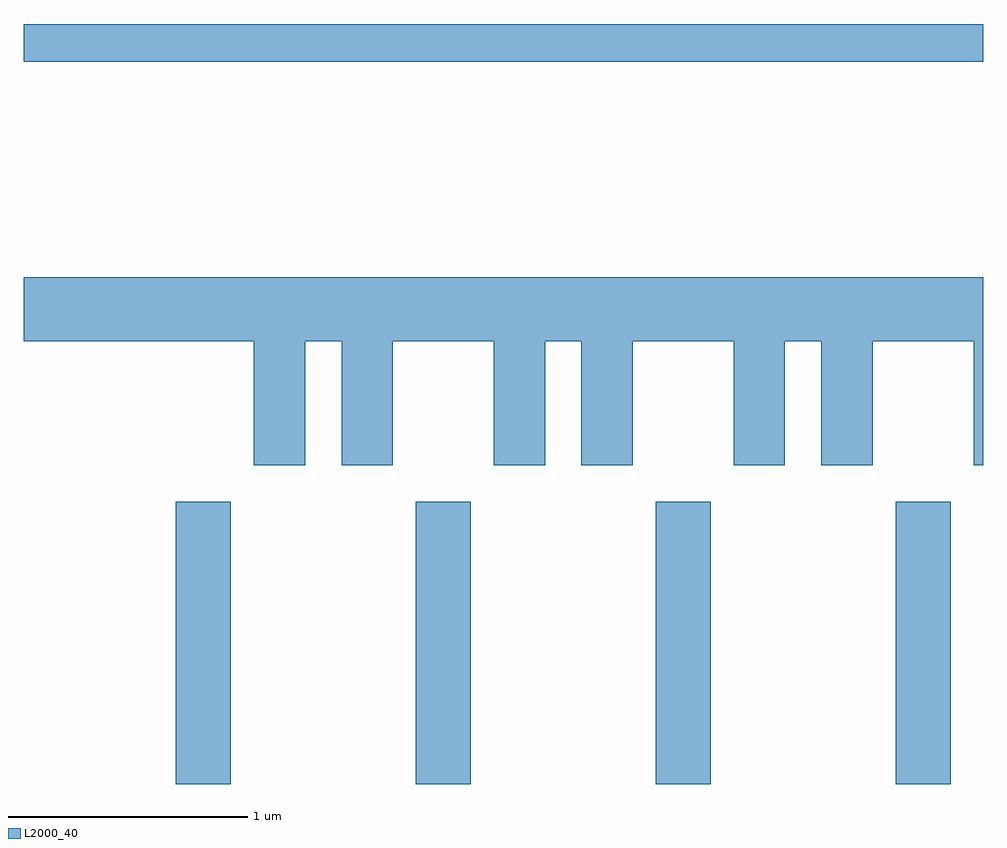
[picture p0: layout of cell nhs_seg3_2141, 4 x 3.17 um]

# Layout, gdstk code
import gdstk
lib = gdstk.Library(unit=1e-6, precision=1e-09)
def R(c, l, rs):  # rectangles x0, y0, x1, y1
    for r in rs: c.add(gdstk.rectangle(r[:2], r[2:], *l))
def A(c, l, x, y, w, h, nx, ny, dx, dy):  # array of equal rectangles
    R(c, l, [(x+i*dx, y+j*dy, x+i*dx+w, y+j*dy+h) for i in range(nx) for j in range(ny)])
def P(c, l, *ps):  # polygons
    for p in ps: c.add(gdstk.Polygon(p, *l))
L2000_40 = (2000, 40)

nhs_seg3_2141 = lib.new_cell('nhs_seg3_2141')
A(nhs_seg3_2141, L2000_40, 248.246, 1181.892, 0.228, 1.177, 4, 1, 1, 0)
R(nhs_seg3_2141, L2000_40, [(247.611,1184.901,251.611,1185.059)])
P(nhs_seg3_2141, L2000_40, [(248.784,1183.736),(248.936,1183.736),(248.936,1183.221),(249.149,1183.221),(249.149,1183.736),(249.571,1183.736),(249.571,1183.221),(249.784,1183.221),(249.784,1183.736),(249.936,1183.736),(249.936,1183.221),(250.149,1183.221),(250.149,1183.736),(250.571,1183.736),(250.571,1183.221),(250.784,1183.221),(250.784,1183.736),(250.936,1183.736),(250.936,1183.221),(251.149,1183.221),(251.149,1183.736),(251.571,1183.736),(251.571,1183.221),(251.611,1183.221),(251.611,1184.004),(247.611,1184.004),(247.611,1183.736),(248.571,1183.736),(248.571,1183.221),(248.784,1183.221)])

lib.write_gds('nhs_seg3_2141.gds')
